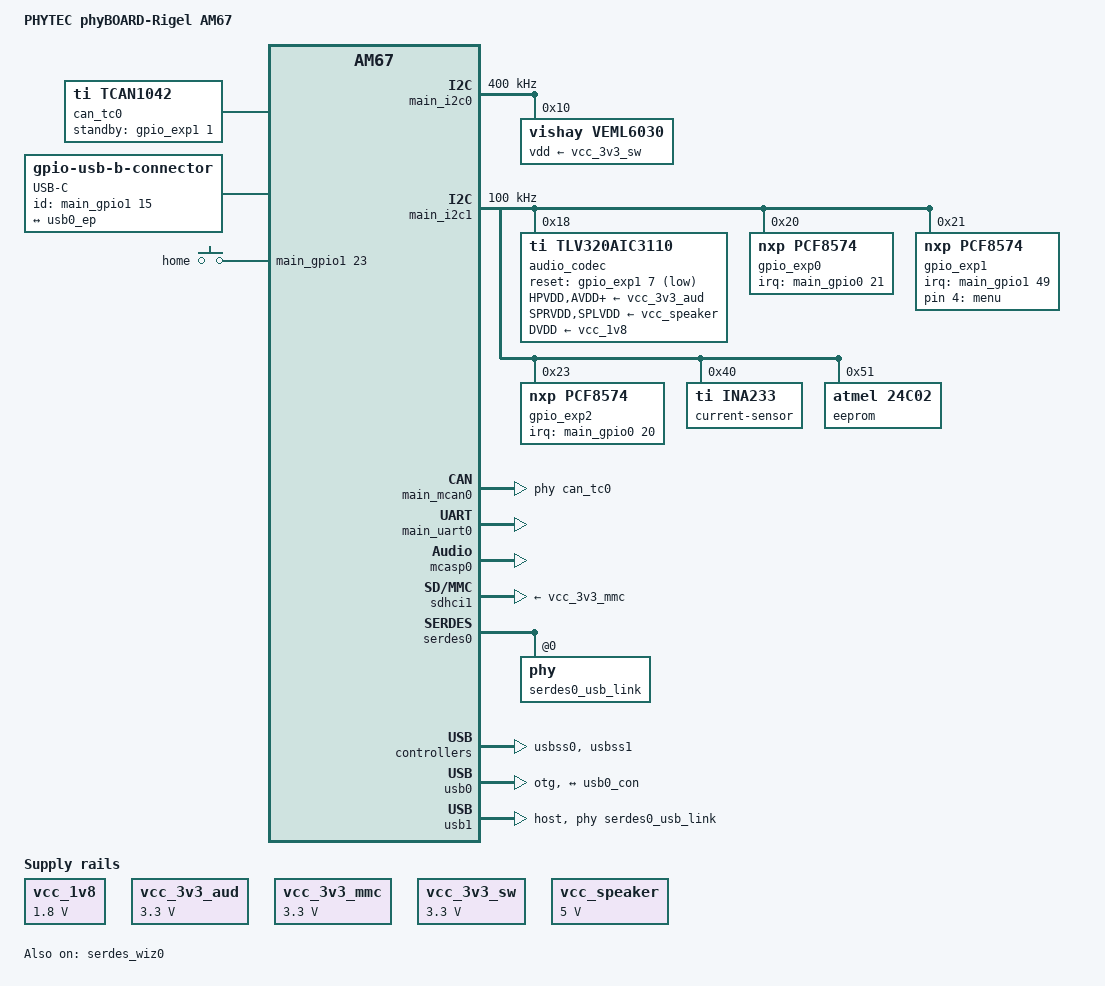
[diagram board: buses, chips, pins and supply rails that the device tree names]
// SPDX-License-Identifier: GPL-2.0-only OR MIT
/*
 * Copyright (C) 2026 PHYTEC America LLC
 * Author: Nathan Morrisson <nmorrisson@phytec.com>
 */

/dts-v1/;

#include <dt-bindings/input/input.h>
#include <dt-bindings/phy/phy.h>
#include <dt-bindings/gpio/gpio.h>
#include <dt-bindings/interrupt-controller/irq.h>
#include "k3-serdes.h"
#include "k3-j722s.dtsi"
#include "k3-am67-phycore-som.dtsi"

/ {
	compatible = "phytec,am6754-phyboard-rigel",
		     "phytec,am67-phycore-som", "ti,j722s";
	model = "PHYTEC phyBOARD-Rigel AM67";

	aliases {
		gpio1 = &main_gpio1;
		mmc1 = &sdhci1;
		serial2 = &main_uart0;
		usb0 = &usb0;
		usb1 = &usb1;
	};

	can_tc0: can-phy0 {
		compatible = "ti,tcan1042";
		#phy-cells = <0>;
		max-bitrate = <8000000>;
		standby-gpios = <&gpio_exp1 1 GPIO_ACTIVE_HIGH>;
	};

	usb0_connector: connector {
		compatible = "gpio-usb-b-connector", "usb-b-connector";
		label = "USB-C";
		data-role = "dual";

		pinctrl-names = "default";
		pinctrl-0 = <&main_usbc_power_pins_default>;

		id-gpios = <&main_gpio1 15 GPIO_ACTIVE_HIGH>;

		port {
			usb0_con: endpoint {
				remote-endpoint = <&usb0_ep>;
			};
		};
	};

	keys {
		compatible = "gpio-keys";
		autorepeat;
		pinctrl-names = "default";
		pinctrl-0 = <&gpio_keys_pins_default>;

		key-home {
			label = "home";
			linux,code = <KEY_HOME>;
			gpios = <&main_gpio1 23 GPIO_ACTIVE_HIGH>;
		};

		key-menu {
			label = "menu";
			linux,code = <KEY_MENU>;
			gpios = <&gpio_exp1 4 GPIO_ACTIVE_HIGH>;
		};
	};

	vcc_1v8: regulator-vcc-1v8 {
		compatible = "regulator-fixed";
		regulator-name = "VCC_1V8";
		regulator-min-microvolt = <1800000>;
		regulator-max-microvolt = <1800000>;
		regulator-always-on;
		regulator-boot-on;
	};

	vcc_3v3_aud: regulator-vcc-3v3-aud {
		compatible = "regulator-fixed";
		regulator-name = "VCC_3V3_AUD";
		regulator-min-microvolt = <3300000>;
		regulator-max-microvolt = <3300000>;
		regulator-always-on;
		regulator-boot-on;
	};

	vcc_3v3_mmc: regulator-vcc-3v3-mmc {
		/* TPS22963C OUTPUT */
		compatible = "regulator-fixed";
		regulator-name = "VCC_3V3_MMC";
		regulator-min-microvolt = <3300000>;
		regulator-max-microvolt = <3300000>;
		regulator-always-on;
		regulator-boot-on;
	};

	vcc_3v3_sw: regulator-vcc-3v3-sw {
		compatible = "regulator-fixed";
		regulator-name = "VCC_3V3_SW";
		regulator-min-microvolt = <3300000>;
		regulator-max-microvolt = <3300000>;
		regulator-always-on;
		regulator-boot-on;
	};

	vcc_speaker: regulator-vcc-speaker {
		compatible = "regulator-fixed";
		regulator-name = "VCC_SPEAKER";
		regulator-min-microvolt = <5000000>;
		regulator-max-microvolt = <5000000>;
		regulator-always-on;
		regulator-boot-on;
	};

	sound {
		compatible = "simple-audio-card";
		simple-audio-card,widgets =
			"Microphone", "Mic Jack",
			"Headphone", "Headphone Jack",
			"Line", "Stereo Jack",
			"Speaker", "L SPKR",
			"Speaker", "R SPKR";
		simple-audio-card,routing =
			"MIC1RP", "Mic Jack",
			"Mic Jack", "MICBIAS",
			"Headphone Jack", "HPL",
			"Headphone Jack", "HPR",
			"MIC1LM", "Stereo Jack",
			"MIC1LP", "Stereo Jack",
			"L SPKR", "SPL",
			"R SPKR", "SPR";
		simple-audio-card,name = "phyBOARD-Rigel";
		simple-audio-card,format = "dsp_b";
		simple-audio-card,bitclock-master = <&sound_master>;
		simple-audio-card,frame-master = <&sound_master>;
		simple-audio-card,bitclock-inversion;

		simple-audio-card,cpu {
			sound-dai = <&mcasp0>;
		};

		sound_master: simple-audio-card,codec {
			sound-dai = <&audio_codec>;
			clocks = <&audio_refclk1>;
		};
	};
};

&main_pmx0 {
	audio_ext_refclk1_pins_default: audio-ext-refclk1-default-pins {
		pinctrl-single,pins = <
			J722S_IOPAD(0x0a0, PIN_OUTPUT, 1)	/* (N24) GPMC0_WPn.AUDIO_EXT_REFCLK1 */
		>;
	};

	gpio_exp0_int_pins_default: gpio-exp0-int-default-pins {
		pinctrl-single,pins = <
			J722S_IOPAD(0x0054, PIN_INPUT, 7)	/* (T21) GPMC0_AD6.GPIO0_21 */
		>;
	};

	gpio_exp1_int_pins_default: gpio-exp1-int-default-pins {
		pinctrl-single,pins = <
			J722S_IOPAD(0x0244, PIN_INPUT, 7)	/* (A24) MMC1_SDWP.GPIO1_49 */
		>;
	};

	gpio_exp2_int_pins_default: gpio-exp2-int-default-pins {
		pinctrl-single,pins = <
			J722S_IOPAD(0x0050, PIN_INPUT, 7)	/* (T24) GPMC0_AD5.GPIO0_20 */
		>;
	};

	gpio_keys_pins_default: gpio-keys-default-pins {
		pinctrl-single,pins = <
			J722S_IOPAD(0x01d4, PIN_INPUT, 7)	/* (B21) UART0_RTSn.GPIO1_23 */
		>;
	};

	main_i2c0_pins_default: main-i2c0-default-pins {
		pinctrl-single,pins = <
			J722S_IOPAD(0x01e0, PIN_INPUT_PULLUP, 0)	/* (D23) I2C0_SCL */
			J722S_IOPAD(0x01e4, PIN_INPUT_PULLUP, 0)	/* (B22) I2C0_SDA */
		>;
		bootph-all;
	};

	main_i2c1_pins_default: main-i2c1-default-pins {
		pinctrl-single,pins = <
			J722S_IOPAD(0x01e8, PIN_INPUT_PULLUP, 0)	/* (C24) I2C1_SCL */
			J722S_IOPAD(0x01ec, PIN_INPUT_PULLUP, 0)	/* (A22) I2C1_SDA */
		>;
		bootph-all;
	};

	main_mcan0_pins_default: main-mcan0-default-pins {
		pinctrl-single,pins = <
			J722S_IOPAD(0x1dc, PIN_INPUT, 0)	/* (C22) MCAN0_RX */
			J722S_IOPAD(0x1d8, PIN_OUTPUT, 0)	/* (D22) MCAN0_TX */
		>;
	};

	main_mcasp0_pins_default: main-mcasp0-default-pins {
		pinctrl-single,pins = <
			J722S_IOPAD(0x1a8, PIN_INPUT, 0)	/* (C26) MCASP0_AFSX */
			J722S_IOPAD(0x1a4, PIN_INPUT, 0)	/* (D25) MCASP0_ACLKX */
			J722S_IOPAD(0x198, PIN_OUTPUT, 0)	/* (A26) MCASP0_AXR2 */
			J722S_IOPAD(0x194, PIN_INPUT, 0)	/* (A25) MCASP0_AXR3 */
		>;
	};

	main_mmc1_pins_default: main-mmc1-default-pins {
		pinctrl-single,pins = <
			J722S_IOPAD(0x023c, PIN_INPUT, 0)	/* (H22) MMC1_CMD */
			J722S_IOPAD(0x0234, PIN_INPUT, 0)	/* (H24) MMC1_CLK */
			J722S_IOPAD(0x0230, PIN_INPUT, 0)	/* (H23) MMC1_DAT0 */
			J722S_IOPAD(0x022c, PIN_INPUT, 0)	/* (H20) MMC1_DAT1 */
			J722S_IOPAD(0x0228, PIN_INPUT, 0)	/* (J23) MMC1_DAT2 */
			J722S_IOPAD(0x0224, PIN_INPUT, 0)	/* (H25) MMC1_DAT3 */
			J722S_IOPAD(0x0240, PIN_INPUT, 0)	/* (B24) MMC1_SDCD */
		>;
		bootph-all;
	};

	main_uart0_pins_default: main-uart0-default-pins {
		pinctrl-single,pins = <
			J722S_IOPAD(0x01c8, PIN_INPUT, 0)	/* (F19) UART0_RXD */
			J722S_IOPAD(0x01cc, PIN_OUTPUT, 0)	/* (F20) UART0_TXD */
		>;
		bootph-all;
	};

	main_usbc_power_pins_default: main-usbc-power-default-pins {
		pinctrl-single,pins = <
			J722S_IOPAD(0x1b4, PIN_INPUT, 7)	/* (B20) SPI0_CS0.GPIO1_15 */
		>;
	};
};

&audio_refclk1 {
	assigned-clock-rates = <25000000>;
};

&main_i2c0 {
	pinctrl-names = "default";
	pinctrl-0 = <&main_i2c0_pins_default>;
	clock-frequency = <400000>;
	status = "okay";

	veml6030: light-sensor@10 {
		compatible = "vishay,veml6030";
		reg = <0x10>;
		vdd-supply = <&vcc_3v3_sw>;
	};
};

&main_i2c1 {
	pinctrl-names = "default";
	pinctrl-0 = <&main_i2c1_pins_default>;
	clock-frequency = <100000>;
	status = "okay";

	audio_codec: audio-codec@18 {
		compatible = "ti,tlv320aic3110";
		reg = <0x18>;
		pinctrl-names = "default";
		pinctrl-0 = <&audio_ext_refclk1_pins_default>;
		#sound-dai-cells = <0>;
		ai31xx-micbias-vg = <2>;
		reset-gpios = <&gpio_exp1 7 GPIO_ACTIVE_LOW>;

		HPVDD-supply = <&vcc_3v3_aud>;
		SPRVDD-supply = <&vcc_speaker>;
		SPLVDD-supply = <&vcc_speaker>;
		AVDD-supply = <&vcc_3v3_aud>;
		IOVDD-supply = <&vcc_3v3_aud>;
		DVDD-supply = <&vcc_1v8>;
	};

	gpio_exp0: gpio@20 {
		compatible = "nxp,pcf8574";
		reg = <0x20>;
		gpio-controller;
		#gpio-cells = <2>;
		pinctrl-names = "default";
		pinctrl-0 = <&gpio_exp0_int_pins_default>;
		interrupt-parent = <&main_gpio0>;
		interrupts = <21 IRQ_TYPE_EDGE_FALLING>;
		gpio-line-names = "CSI3_STROBE", "CSI3_TRIGGER",
				  "CSI3_SHUTTER", "CSI3_OE",
				  "CSI2_STROBE", "CSI2_TRIGGER",
				  "CSI2_SHUTTER", "CSI2_OE";
	};

	gpio_exp1: gpio@21 {
		compatible = "nxp,pcf8574";
		reg = <0x21>;
		gpio-controller;
		#gpio-cells = <2>;
		pinctrl-names = "default";
		pinctrl-0 = <&gpio_exp1_int_pins_default>;
		interrupt-parent = <&main_gpio1>;
		interrupts = <49 IRQ_TYPE_EDGE_FALLING>;
		gpio-line-names = "GPIO0_HDMI_RST", "GPIO1_CAN_nEN",
				  "GPIO2_LED", "GPIO3_MCU_CAN0_nEN",
				  "GPIO4_BUT2", "GPIO5_MCU_CAN1_nEN",
				  "GPIO6_AUDIO_GPIO", "GPIO7_AUDIO_USER_RESET";
	};

	gpio_exp2: gpio@23 {
		compatible = "nxp,pcf8574";
		reg = <0x23>;
		gpio-controller;
		#gpio-cells = <2>;
		pinctrl-names = "default";
		pinctrl-0 = <&gpio_exp2_int_pins_default>;
		interrupt-parent = <&main_gpio0>;
		interrupts = <20 IRQ_TYPE_EDGE_FALLING>;
		gpio-line-names = "CSI1_STROBE", "CSI1_TRIGGER",
				  "CSI1_SHUTTER", "CSI1_OE",
				  "CSI0_STROBE", "CSI0_TRIGGER",
				  "CSI0_SHUTTER", "CSI0_OE";
	};

	current-sensor@40 {
		compatible = "ti,ina233";
		reg = <0x40>;
		shunt-resistor = <18000>;
	};

	eeprom@51 {
		compatible = "atmel,24c02";
		reg = <0x51>;
		pagesize = <16>;
	};
};

&main_mcan0 {
	pinctrl-names = "default";
	pinctrl-0 = <&main_mcan0_pins_default>;
	phys = <&can_tc0>;
	status = "okay";
};

&main_uart0 {
	pinctrl-names = "default";
	pinctrl-0 = <&main_uart0_pins_default>;
	bootph-all;
	status = "okay";
};

&mcasp0 {
	#sound-dai-cells = <0>;
	op-mode = <0>; /* MCASP_IIS_MODE */
	pinctrl-names = "default";
	pinctrl-0 = <&main_mcasp0_pins_default>;
	tdm-slots = <2>;
	serial-dir = < /* 0: INACTIVE, 1: TX, 2: RX */
	       0 0 1 2
	       0 0 0 0
	       0 0 0 0
	       0 0 0 0
	>;
	status = "okay";
};

&sdhci1 {
	/* SD/MMC */
	vmmc-supply = <&vcc_3v3_mmc>;
	vqmmc-supply = <&vddshv_sdio>;
	pinctrl-names = "default";
	pinctrl-0 = <&main_mmc1_pins_default>;
	disable-wp;
	no-1-8-v;
	bootph-all;
	status = "okay";
};

&serdes_ln_ctrl {
	idle-states = <J722S_SERDES0_LANE0_USB>,
		      <J722S_SERDES1_LANE0_PCIE0_LANE0>;
};

&serdes0 {
	status = "okay";

	serdes0_usb_link: phy@0 {
		reg = <0>;
		cdns,num-lanes = <1>;
		#phy-cells = <0>;
		cdns,phy-type = <PHY_TYPE_USB3>;
		resets = <&serdes_wiz0 1>;
	};
};

&serdes_wiz0 {
	status = "okay";
};

&usbss0 {
	ti,vbus-divider;
	status = "okay";
};

&usb0 {
	dr_mode = "otg";
	usb-role-switch;
	maximum-speed = "high-speed";

	port {
		usb0_ep: endpoint {
			remote-endpoint = <&usb0_con>;
		};
	};
};

&usbss1 {
	ti,vbus-divider;
	status = "okay";
};

&usb1 {
	dr_mode = "host";
	phys = <&serdes0_usb_link>;
	phy-names = "cdns3,usb3-phy";
	maximum-speed = "super-speed";
};
